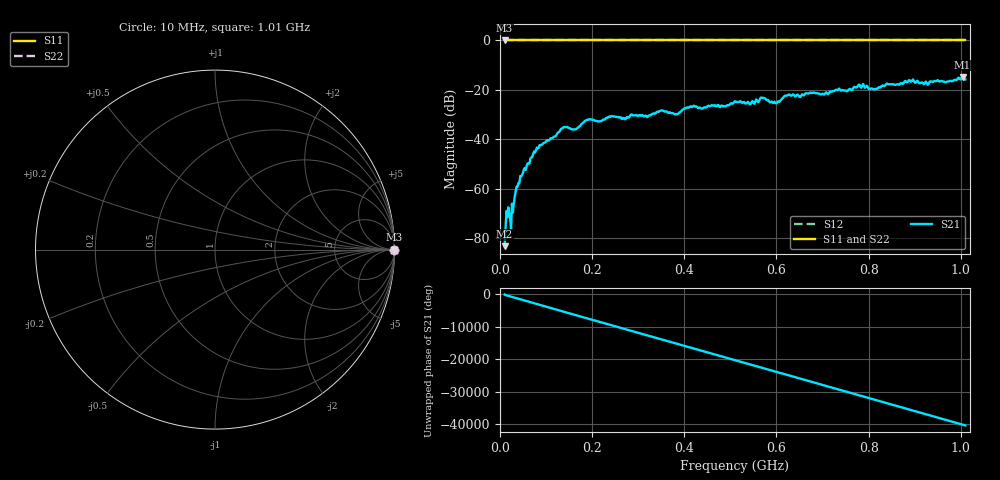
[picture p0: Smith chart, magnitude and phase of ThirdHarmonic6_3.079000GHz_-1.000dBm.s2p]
! 8/17/2025 9:01:27 AM
! C:\ANRITSUVNA\TEMP\TEMP.S2P
! CHANNEL.1
! TR.MEASUREMENT
! RAW.DATA
! RF.CORRECTION.OFF
! AVERAGING.OFF
! IF.BANDWIDTH: 5KHZ
! SWEEPTYPE:  FREQ.SWEEP(Linear)
! Reference Plane Port Info
! PORT:  PORT1  PORT2
! DISTANCE:  0  m  0  m
! TIME:  0  s  0  s
! PHASE.OFFSET:  0  deg.  0  deg.
! LOSS:  0  dB  0  dB
! REF.LOSS:  0  dB  0  dB
! REF.FREQ:  0  Hz  0  Hz
! Power Info
! POWER:  -20  dBm  -20  dBm
! EFF.POWER:  -20  dBm  -20  dBm
! SOURCE.ATTEN:  0  dB  0  dB
! TEST.ATTEN:  0  dB  0  dB
# GHZ S RI R 50.0
! FREQ.GHZ  S11RE  S11IM  S21RE  S21IM  S12RE  S12IM  S22RE  S22IM
!; PortSelection: Port_12
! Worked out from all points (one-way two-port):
!   501 points, 10 MHz to 1.01 GHz, reference 50 ohm
!   highest |S21| = -14.83 dB at 1.004 GHz (marker M1); lowest = -83.3 dB at 10 MHz (marker M2)
!   lowest |S11| = 0.0 dB at 10 MHz (marker M3)
!   |S11| at or under -10 dB: nowhere
!   |S22| runs from 0.0 to 0.0 dB; largest |S21 - S12| = 1.2
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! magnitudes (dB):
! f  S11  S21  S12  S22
! 10 MHz  0.0  -83.3  0.0  0.0
! 16 MHz  0.0  -71.6  0.0  0.0
! 26 MHz  0.0  -66.1  0.0  0.0
! 40 MHz  0.0  -57.7  0.0  0.0
! 76 MHz  0.0  -45.4  0.0  0.0
! 136 MHz  0.0  -35.6  0.0  0.0
! 162 MHz  0.0  -36.1  0.0  0.0
! 178 MHz  0.0  -33.7  0.0  0.0
! 344 MHz  0.0  -28.9  0.0  0.0
! 382 MHz  0.0  -29.8  0.0  0.0
! 410 MHz  0.0  -27.2  0.0  0.0
! 510 MHz  0.0  -24.6  0.0  0.0
! 548 MHz  0.0  -24.6  0.0  0.0
! 570 MHz  0.0  -23.2  0.0  0.0
! 596 MHz  0.0  -24.8  0.0  0.0
! 622 MHz  0.0  -22.4  0.0  0.0
! 678 MHz  0.0  -21.3  0.0  0.0
! 784 MHz  0.0  -19.1  0.0  0.0
! 814 MHz  0.0  -19.7  0.0  0.0
! 844 MHz  0.0  -17.8  0.0  0.0
! 1.004 GHz  0.0  -14.8  0.0  0.0
! 1.01 GHz  0.0  -15.8  0.0  0.0
